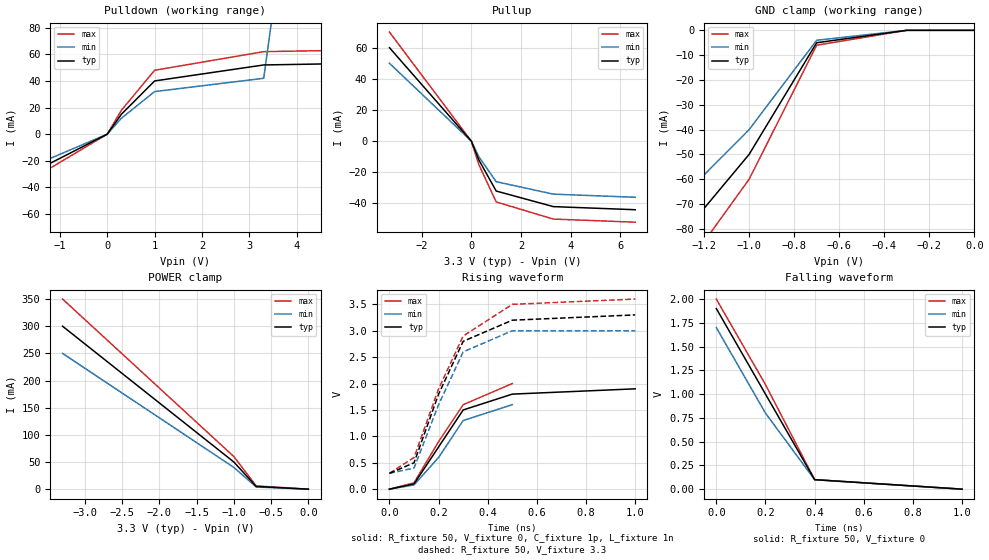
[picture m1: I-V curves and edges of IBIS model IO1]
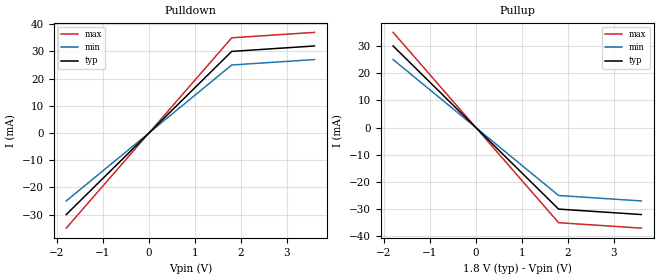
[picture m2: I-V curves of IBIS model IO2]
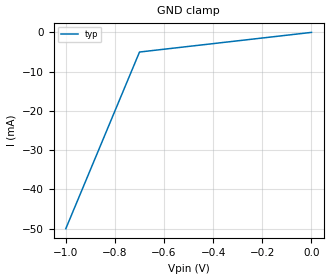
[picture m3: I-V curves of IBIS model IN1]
[IBIS Ver] 4.0
[Comment Char] #_char
[File Name]  riche.ibs
[File Rev]   1.0
[Date] 12/11/2026
[Notes] fichier d'essai | avec commentaire
[Component]  U_RICHE
[Manufacturer] Essai
[Package]
# variable | pas un commentaire  typ  min  max
R_pkg  0.2  0.1  0.3
L_pkg  8nH  NA  10nH
C_pkg = 1pF  0.8pF  NA
[Pin] signal_name model_name R_pin L_pin C_pin
A1  DP   SEL   0.05  2nH  0.4pF
A2  DN   SEL   NA  NA  0.6pF
A3  VCC  POWER
A4  GND  gnd
A5  NC1  NC
B1  DQ0  IO1   50m 1.5n 300f
B2  DQ1  ABSENT
B3  CLK  IN1
B1  DQ0b IO1   51m 1.6n 301f
[Package Model] DEHORS
[Diff Pin] inv_pin vdiff tdelay_typ tdelay_min tdelay_max
A1 A2 0.2V 40ps NA 50ps
B1 B3 NA
B2 B1
[Model Selector] SEL
IO1 le premier
IO2 l'autre
[Model Selector]
[Define Package Model] PKG1
[Manufacturer] Essai
[OEM] Essai
[Description] boitier d'essai
[Number Of Pins] 5
[Pin Numbers]
A1
A2
B1
A3
B3
[Model Data]
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[End Model Data]
[End Package Model]
[Define Package Model] PKG_S
[Number Of Sections] 3
[Pin Numbers]
A1 Len = 0 L=0.5n /
   Len = 10 L=0.25n C=0.1p R=0.01 G=1u /
   Len = 0 C=0.2p /
A2 Len = 10 L=0.25n C=0.1p /
   Fork
   Len = 2 L=0.25n C=0.1p /
   Fork Len=1 C=1p / Endfork
   Endfork
   Endfork
   Len = 0 L=1n X=3 /
B1
[End Package Model]
[Submodel] ODT
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[Model]
Model_type Terminator
# Models and submodels in the file (5): IO1 (I/O), IO2 (Output), ODT (?), IN1 (Input), ? (Terminator)
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[Model] IO1
Model_type I/O
Polarity Non-Inverting
C_comp 3.0pF 2.5pF 3.5pF
Vinl = 0.8V
Vinh = 2.0V
[Model Spec]
Vinh 2.0 1.9 2.1
[Temperature Range] 25 85 0
[Voltage Range] 3.3V 3.0V 3.6V
[Pullup Reference] 3.3 NA 3.5
[Pulldown Reference] 0 0.1 -0.1
[POWER Clamp Reference] 3.3 3.0 3.6
[GND Clamp Reference] 0 0 0
[Rgnd] 1k 900 1.1k
[Rpower] 2k NA NA
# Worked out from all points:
#   slope of the pulldown table from 0 to 0.495 V, typ, clamps not added: 22.5 ohm
#   slope of the pullup table from 0 to 0.495 V, typ, clamps not added: 28.2 ohm
#   rising waveform, R_fixture 50, V_fixture 0, C_fixture 1p, L_fixture 1n: 20-80 % time 173ps typ, 151ps min, 164ps max; typ from 0 V to 1.9 V
#   rising waveform, R_fixture 50, V_fixture 3.3: 20-80 % time 159ps typ, 149ps min, 186ps max; typ from 0.3 V to 3.3 V
#   falling waveform, R_fixture 50, V_fixture 0: 20-80 % time 253ps typ, 256ps min, 251ps max; typ from 1.9 V to 0 V
[Pulldown]
-3.3V     -60mA      -50mA      -70mA
0V        0A         0A         0A
300mV     15mA       12mA       18mA
1V        40mA       32mA       48mA
3.3V      52mA       42mA       62mA
6.6V      54mA       NA         64mA
7V        NA         1A         2A
[Pullup]
-3.3V     60mA       50mA       70mA
0V        0A         0A         0A
300mV     -12mA      -10mA      -15mA
1V        -32mA      -26mA      -39mA
3.3V      -42mA      -34mA      -50mA
6.6V      -44mA      -36mA      -52mA
[GND Clamp]
-3.3V     -300mA     -250mA     -350mA
-1V       -50mA      -40mA      -60mA
-700mV    -5mA       -4mA       -6mA
-300mV    0A         0A         0A
0V        0A         0A         0A
[POWER Clamp]
-3.3V     300mA      250mA      350mA
-1V       50mA       40mA       60mA
-700mV    5mA        4mA        6mA
0V        0A         0A         0A
[Ramp]
dV/dt_r 1.6/0.6n 1.4/0.8n 1.8/0.45n
dV/dt_f 1.6/0.5n NA 1.8/0.4n
R_load = 50
[Rising Waveform]
R_fixture = 50
V_fixture = 0
V_fixture_min = 0.1
V_fixture_max = -0.1
C_fixture = 1p
L_fixture = 1n
R_dut = NA
0s        0V         0V         0V
100ps     100mV      80mV       120mV
200ps     800mV      600mV      900mV
300ps     1.5V       1.3V       1.6V
500ps     1.8V       1.6V       2V
1ns       1.9V       NA         NA
[Rising Waveform]
R_fixture = 50
V_fixture = 3.3
0s        300mV      300mV      300mV
100ps     500mV      400mV      600mV
200ps     1.8V       1.6V       1.9V
300ps     2.8V       2.6V       2.9V
500ps     3.2V       3V         3.5V
1ns       3.3V       3V         3.6V
[Falling Waveform]
R_fixture = 50
V_fixture = 0
0s        1.9V       1.7V       2V
200ps     1V         800mV      1.1V
400ps     100mV      100mV      100mV
1ns       0V         0V         0V
[Algorithmic Model]
Executable Linux_gcc4.1.2_64 tx.so tx.ami
Executable Windows_VisualStudio_64 tx.dll tx.ami
Executable trop court
[End Algorithmic Model]
[Model] IO2
Model_type Output
C_comp 2p
[Voltage Range] 1.8 1.7 1.9
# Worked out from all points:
#   slope of the pulldown table from 0 to 0.27 V, typ, clamps not added: 60 ohm
#   slope of the pullup table from 0 to 0.27 V, typ, clamps not added: 60 ohm
[Pulldown]
-1.8V     -30mA      -25mA      -35mA
0V        0A         0A         0A
1.8V      30mA       25mA       35mA
3.6V      32mA       27mA       37mA
[Pullup]
-1.8V     30mA       25mA       35mA
0V        0A         0A         0A
1.8V      -30mA      -25mA      -35mA
3.6V      -32mA      -27mA      -37mA
[Ramp]
dV/dt_r 1.0/0.2n 0.9/0.3n 1.1/0.15n
dV/dt_f 1.0/0.2n 0.9/0.3n 1.1/0.15n
[Model] IN1
Model_type Input
C_comp 4pF NA NA
[Voltage Range] 3.3 3.0 3.6
[GND Clamp]
-1V       -50mA      NA         NA
-700mV    -5mA       NA         NA
0V        0A         NA         NA
